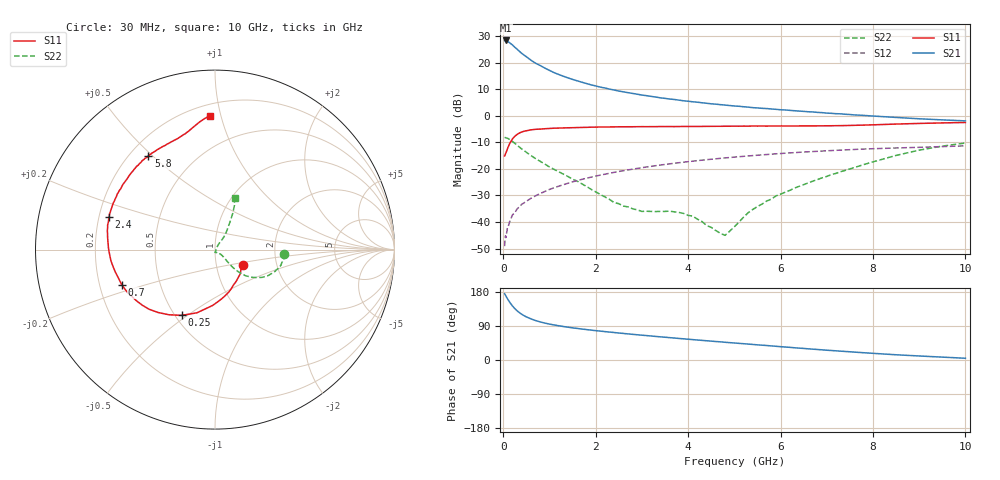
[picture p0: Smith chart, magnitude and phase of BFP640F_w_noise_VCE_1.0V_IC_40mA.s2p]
! Infineon Technologies  Discrete & RF Semiconductors
! BFP640F
! VCE =  1.0 V,  IC =  40 mA
! Common Emitter S-Parameters:  Apr 2013
# GHz  S  MA  R  50
!  f  S11  S21  S12  S22
! GHz  MAG  ANG  MAG  ANG  MAG  ANG  MAG  ANG
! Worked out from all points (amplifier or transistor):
!   99 points, 30 MHz to 10 GHz, reference 50 ohm
!   highest |S21| = 28.4 dB at 50 MHz (marker M1)
!   |S21| within 3 dB of that: start of sweep to 280.6 MHz
!   unconditionally stable (mu >= 1): start of sweep to end of sweep
!   at 350 MHz: K = 1.18, MAG = 26.7 dB, |S12| = -34.3 dB
!   at 3.5 GHz: K = 1.30, MAG = 9.1 dB, |S12| = -18.3 dB
!   at 10 GHz: K = 1.21, MAG = 2.0 dB, |S12| = -11.3 dB
!   lowest NFmin = 1.22 dB at 450 MHz
!   S11 on the Smith chart (normalised r, x): 30 MHz: 1.34, -0.23; 250 MHz: 0.54, -0.48; 700 MHz: 0.29, -0.17; 2.4 GHz: 0.24, +0.14; 5.8 GHz: 0.27, +0.49; 10 GHz: 0.27, +0.93
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0.03  0.1752 -28.3  26.02 174.8  0.0035 29.3  0.3865 -3.5
0.04  0.1798 -36.4  25.71 172.8  0.0048 39.1  0.3874 -5.2
0.05  0.1948 -43.2  26.18 170.8  0.0055 35.1  0.3884 -7.0
0.1  0.2491 -72.2  25 160.1  0.008 57.3  0.3736 -14.5
0.15  0.3116 -92.5  23.24 150.8  0.0105 61.7  0.3512 -21.1
0.2  0.3661 -105.9  21.53 142.5  0.0136 61.3  0.3274 -26.6
0.25  0.4104 -116.8  19.55 135.8  0.0149 62.4  0.3033 -30.7
0.35  0.4729 -132.2  16.36 125.0  0.0193 61.3  0.2572 -36.9
0.45  0.51 -142.6  13.9 117.0  0.0229 61.6  0.2223 -40.7
0.6  0.5425 -153.8  11.13 108.5  0.0279 62.3  0.1782 -43.6
0.7  0.5556 -159.3  9.753 104.1  0.0311 62.9  0.156 -44.4
0.9  0.5697 -167.5  7.895 97.4  0.0375 64.0  0.1231 -44.8
1.1  0.583 -173.8  6.486 92.5  0.044 64.3  0.0978 -44.1
1.7  0.6025 173.3  4.288 81.8  0.0633 64.3  0.0523 -39.3
2.4  0.6169 163.0  3.054 72.5  0.0859 62.0  0.0231 -52.2
3.4  0.6265 150.5  2.175 61.1  0.118 57.1  0.0158 -87.2
4.8  0.6348 135.2  1.59 46.8  0.1606 48.6  0.0056 -1.5
5.1  0.6357 132.3  1.509 43.9  0.1692 46.6  0.0099 37.9
5.8  0.6409 125.4  1.341 37.2  0.189 42.0  0.0269 54.7
6.7  0.6433 115.7  1.18 28.6  0.2118 35.7  0.0588 55.9
8.5  0.6975 99.4  0.93 13.8  0.2472 23.8  0.1791 61.7
10  0.7473 92.1  0.801 4.6  0.2712 16.0  0.3063 69.1
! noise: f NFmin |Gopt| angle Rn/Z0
0.45  1.22  0.25  -172  0.08
0.9  1.22  0.26  -169  0.08
1.5  1.25  0.28  -162  0.09
1.9  1.28  0.29  -155  0.1
2.4  1.3  0.3  -146  0.1
3.5  1.38  0.31  -135  0.12
5.5  1.59  0.33  -117  0.16
10  2.07  0.48  -81  0.56
